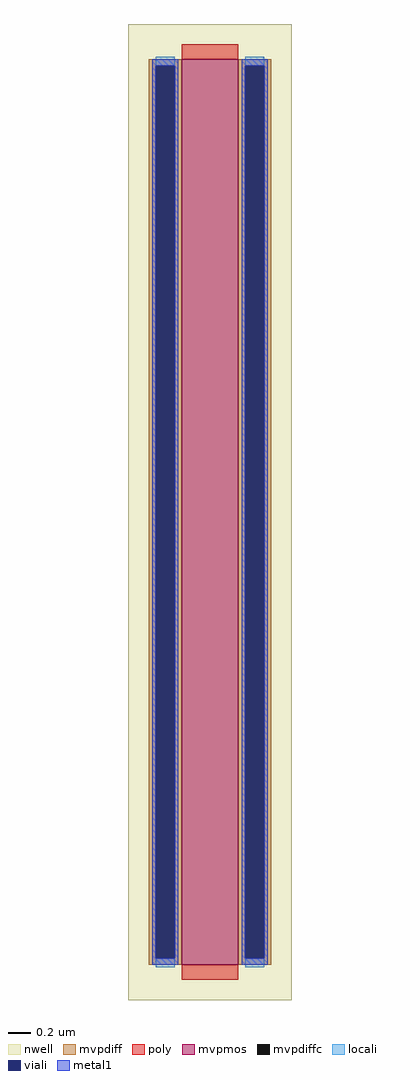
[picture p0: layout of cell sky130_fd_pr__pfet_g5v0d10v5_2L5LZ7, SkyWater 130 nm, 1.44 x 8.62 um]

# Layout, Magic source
magic
tech sky130A
<< nwell >>
rect -72 -431 72 431
<< mvpmos >>
rect -25 -400 25 400
<< mvpdiff >>
rect -54 394 -25 400
rect -54 -394 -48 394
rect -31 -394 -25 394
rect -54 -400 -25 -394
rect 25 394 54 400
rect 25 -394 31 394
rect 48 -394 54 394
rect 25 -400 54 -394
<< mvpdiffc >>
rect -48 -394 -31 394
rect 31 -394 48 394
<< poly >>
rect -25 400 25 413
rect -25 -413 25 -400
<< locali >>
rect -48 394 -31 402
rect -48 -402 -31 -394
rect 31 394 48 402
rect 31 -402 48 -394
<< viali >>
rect -48 -394 -31 394
rect 31 -394 48 394
<< metal1 >>
rect -51 394 -28 400
rect -51 -394 -48 394
rect -31 -394 -28 394
rect -51 -400 -28 -394
rect 28 394 51 400
rect 28 -394 31 394
rect 48 -394 51 394
rect 28 -400 51 -394
<< properties >>
string gencell sky130_fd_pr__pfet_g5v0d10v5
string library sky130
string parameters w 8 l 0.5 m 1 nf 1 diffcov 100 polycov 100 guard 0 glc 1 grc 1 gtc 1 gbc 1 tbcov 100 rlcov 100 topc 0 botc 0 poverlap 0 doverlap 1 lmin 0.50 wmin 0.42 compatible {sky130_fd_pr__pfet_01v8  sky130_fd_pr__pfet_01v8_lvt sky130_fd_pr__pfet_01v8_hvt  sky130_fd_pr__pfet_g5v0d10v5} full_metal 1 viasrc 100 viadrn 100 viagate 100 viagb 0 viagr 0 viagl 0 viagt 0
<< end >>
